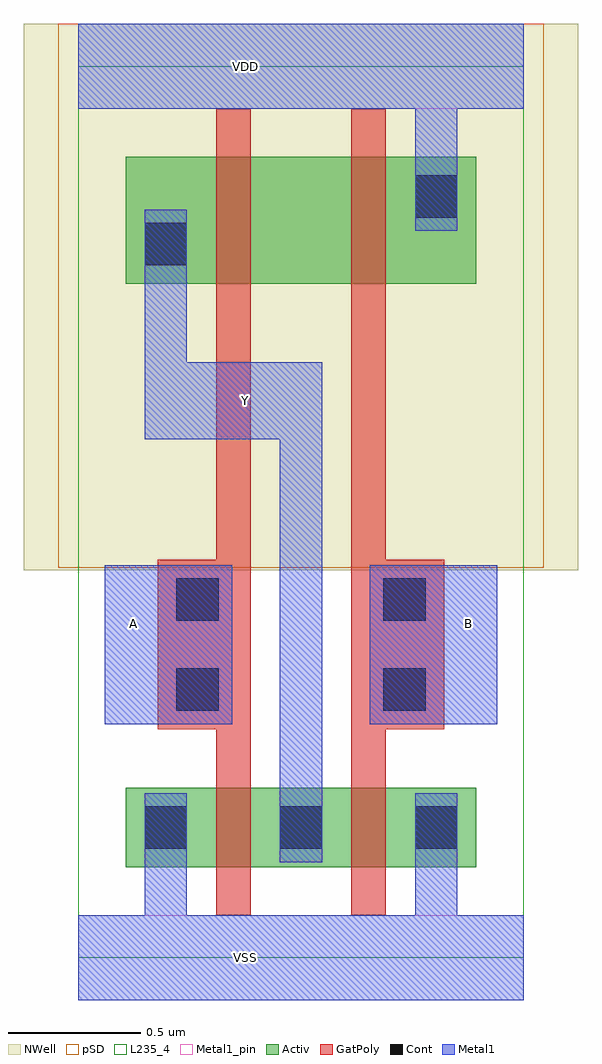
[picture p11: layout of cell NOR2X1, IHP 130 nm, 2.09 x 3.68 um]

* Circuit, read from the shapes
.subckt NOR2X1 A B VDD VSS Y
XM1 Y A VSS VSUBS sg13_lv_nmos w=0.3u l=0.13u
XM2 VSS B Y VSUBS sg13_lv_nmos w=0.3u l=0.13u
XM3 n1 A Y n2 sg13_lv_pmos w=0.48u l=0.13u
XM4 VDD B n1 n2 sg13_lv_pmos w=0.48u l=0.13u
.ends

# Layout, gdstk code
import gdstk
lib = gdstk.Library(unit=1e-6, precision=1e-09)
def R(c, l, rs):  # rectangles x0, y0, x1, y1
    for r in rs: c.add(gdstk.rectangle(r[:2], r[2:], *l))
Activ = (1, 0)
GatPoly = (5, 0)
Cont = (6, 0)
Metal1 = (8, 0)
Metal1_pin = (8, 2)
pSD = (14, 0)
NWell = (31, 0)
L235_4 = (235, 4)

nor2x1 = lib.new_cell('NOR2X1')
R(nor2x1, Activ, [(0.18,0.34,1.5,0.64), (0.18,2.54,1.5,3.02)])
R(nor2x1, GatPoly, [(0.52,0.16,0.65,3.2), (1.03,0.16,1.16,3.2), (0.3,0.86,0.52,1.5), (1.16,0.86,1.38,1.5)])
R(nor2x1, Cont, [(0.25,0.41,0.41,0.57), (0.76,0.41,0.92,0.57), (0.76,0.41,0.92,0.57), (1.27,0.41,1.43,0.57), (0.37,0.93,0.53,1.09), (1.15,0.93,1.31,1.09), (0.37,1.27,0.53,1.43), (1.15,1.27,1.31,1.43), (0.25,2.61,0.41,2.77), (1.27,2.79,1.43,2.95)])
R(nor2x1, Metal1, [(0,-0.16,1.68,0.16), (0.25,0.16,0.41,0.62), (1.27,0.16,1.43,0.62), (0.76,0.36,0.92,1.955), (0.1,0.88,0.58,1.48), (1.1,0.88,1.58,1.48), (0.25,1.955,0.92,2.245), (0.25,2.245,0.41,2.82), (1.27,2.74,1.43,3.2), (0,3.2,1.68,3.52)])
R(nor2x1, Metal1_pin, [(0,-0.16,1.68,0.16), (0.76,0.36,0.92,1.955), (0.1,0.88,0.58,1.48), (1.1,0.88,1.58,1.48), (0.25,1.955,0.92,2.245), (0.25,2.245,0.41,2.82), (0,3.2,1.68,3.52)])
R(nor2x1, pSD, [(-0.075,1.47,1.755,3.52)])
R(nor2x1, NWell, [(-0.205,1.46,1.885,3.52)])
R(nor2x1, L235_4, [(0,0,1.68,3.36)])
nor2x1.add(gdstk.Label('Y', (0.63,2.1), layer=8, texttype=25))
nor2x1.add(gdstk.Label('B', (1.47,1.26), layer=8, texttype=25))
nor2x1.add(gdstk.Label('A', (0.21,1.26), layer=8, texttype=25))
nor2x1.add(gdstk.Label('VSS', (0.63,0), layer=8, texttype=25))
nor2x1.add(gdstk.Label('VDD', (0.63,3.36), layer=8, texttype=25))

lib.write_gds('NOR2X1.gds')
